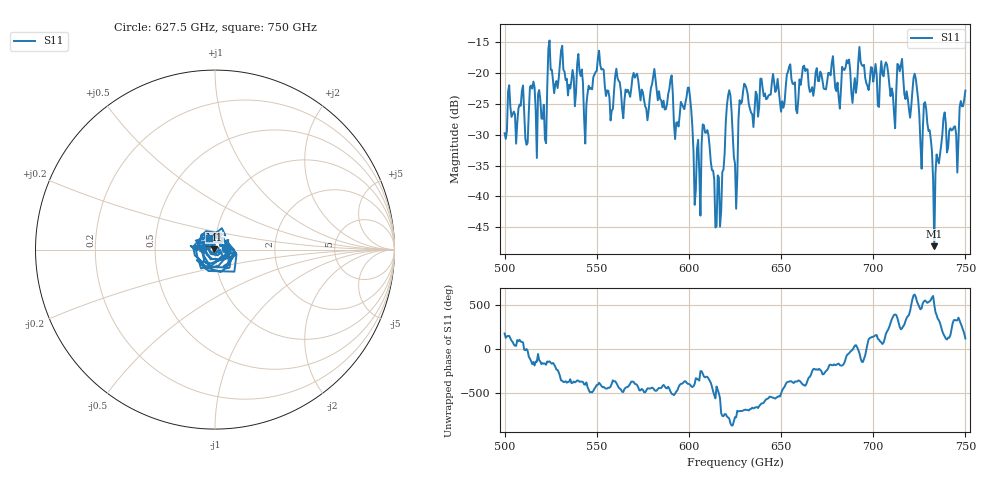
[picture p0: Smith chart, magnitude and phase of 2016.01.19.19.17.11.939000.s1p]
!Created with skrf (http://scikit-rf.org).
# GHz S RI R 50.0
!freq ReS11 ImS11
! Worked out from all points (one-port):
!   401 points, 500 GHz to 750 GHz, reference 50 ohm
!   lowest |S11| = -48.1 dB at 733.1 GHz (marker M1), VSWR 1.01, Z = 49.7 + j0.239 ohm
!   |S11| at or under -10 dB: start of sweep to end of sweep
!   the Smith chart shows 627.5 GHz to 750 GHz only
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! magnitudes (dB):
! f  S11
! 500 GHz  -29.8
! 508.8 GHz  -25.3
! 511.9 GHz  -31.6
! 515 GHz  -22.5
! 521.2 GHz  -25.1
! 524.4 GHz  -14.7
! 531.2 GHz  -15.5
! 544.4 GHz  -25.1
! 550.6 GHz  -17.5
! 562.5 GHz  -21.5
! 590 GHz  -21.0
! 593.8 GHz  -28.0
! 600 GHz  -22.3
! 603.1 GHz  -41.4
! 608.8 GHz  -29.7
! 615.6 GHz  -36.6
! 621.9 GHz  -22.8
! 625 GHz  -34.7
! 630 GHz  -21.7
! 656.2 GHz  -21.7
! 687.5 GHz  -19.5
! 706.9 GHz  -18.2
! 710.6 GHz  -23.3
! 714.4 GHz  -19.7
! 718.8 GHz  -24.1
! 728.8 GHz  -25.9
! 733.1 GHz  -48.1
! 750 GHz  -22.8
